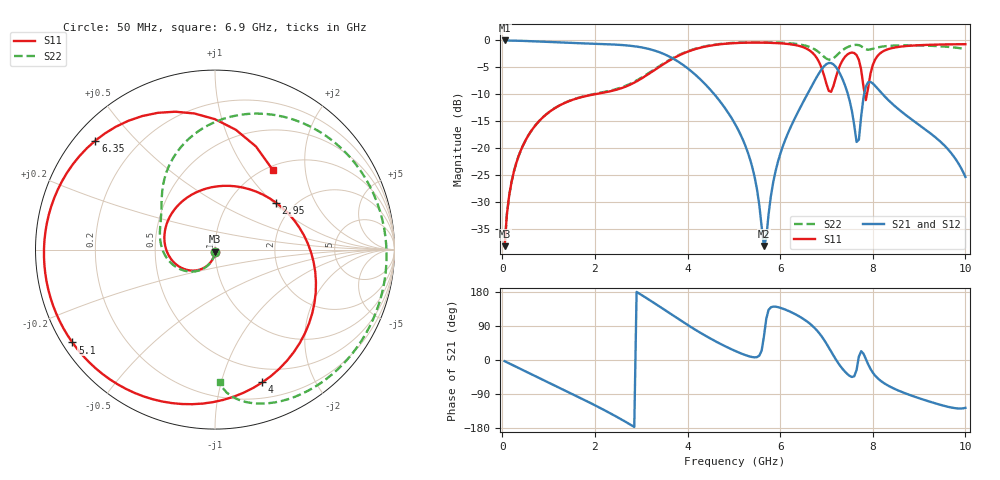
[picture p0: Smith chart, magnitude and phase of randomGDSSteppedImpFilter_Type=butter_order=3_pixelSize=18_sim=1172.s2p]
! freq	dB(S11)	phase(S11)	dB(S12)	phase(S12)
!  dB(S21)	phase(S21)	dB(S22)	phase(S22)
!S-par simulation data
#  GHz  S  DB  R 50
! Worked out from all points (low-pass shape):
!   200 points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, 50 MHz to 10 GHz, reference 50 ohm
!   highest |S21| = -0.01 dB at 50 MHz (marker M1); lowest = -38.1 dB at 5.65 GHz (marker M2)
!   |S21| within 3 dB of the highest: start of sweep to 3.61 GHz
!   lowest |S11| = -38.1 dB at 50 MHz (marker M3), VSWR 1.03, Z = 49.9 - j1.24 ohm
!   |S11| at or under -10 dB: start of sweep to 1.985 GHz; 7.828 GHz to 7.873 GHz (45.29 MHz wide, 0.577 % of centre)
!   |S22| runs from -38.1 to -0.3 dB; largest |S21 - S12| = 0
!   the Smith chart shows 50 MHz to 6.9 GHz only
!   S11 on the Smith chart (normalised r, x): 50 MHz: 1.00, -0.02; 2.95 GHz: 1.62, +1.04; 4 GHz: 0.35, -1.36; 5.1 GHz: 0.03, -0.30; 6.35 GHz: 0.06, +0.39; 6.9 GHz: 1.07, +1.35
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0.05  -38.13 -92.6  -0.01 -3.0  -0.01 -3.0  -38.14 -92.6
0.2  -26.22 -102.3  -0.03 -12.0  -0.03 -12.0  -26.21 -101.9
0.5  -18.55 -121.0  -0.10 -29.9  -0.10 -29.9  -18.55 -119.8
1.75  -10.43 156.2  -0.55 -104.0  -0.55 -104.0  -10.38 174.4
2.95  -7.35 37.5  -1.20 175.9  -1.20 175.9  -7.18 132.2
3.4  -4.85 -12.6  -2.21 140.7  -2.21 140.7  -4.71 111.5
4  -2.10 -70.4  -5.15 92.6  -5.15 92.6  -2.01 72.9
5.05  -0.48 -144.1  -15.86 22.8  -15.86 22.8  -0.42 4.1
5.1  -0.46 -146.9  -16.67 20.1  -16.67 20.1  -0.40 1.2
5.65  -0.41 -177.6  -38.09 62.5  -38.09 62.5  -0.34 -28.9
5.9  -0.48 168.2  -24.25 140.7  -24.25 140.7  -0.38 -41.6
6.35  -0.90 137.6  -13.86 119.4  -13.86 119.4  -0.65 -63.8
6.7  -2.30 98.6  -8.17 89.7  -8.17 89.7  -1.44 -81.1
6.9  -5.22 53.9  -5.30 61.7  -5.30 61.7  -2.66 -88.0
7.2  -6.94 -114.1  -4.88 1.9  -4.88 1.9  -2.94 -80.8
7.5  -2.35 159.1  -11.14 -41.8  -11.14 -41.8  -1.08 -91.7
7.7  -3.62 98.6  -18.40 9.1  -18.40 9.1  -0.88 -104.1
7.8  -8.63 31.5  -10.54 16.7  -10.54 16.7  -1.37 -109.1
7.95  -6.19 -126.2  -7.70 -23.4  -7.70 -23.4  -1.66 -109.9
8.35  -1.57 157.9  -11.18 -68.9  -11.18 -68.9  -1.01 -122.9
9.05  -0.86 114.9  -15.97 -102.9  -15.97 -102.9  -0.94 -149.8
10  -0.70 73.7  -25.29 -126.3  -25.29 -126.3  -1.62 161.1
